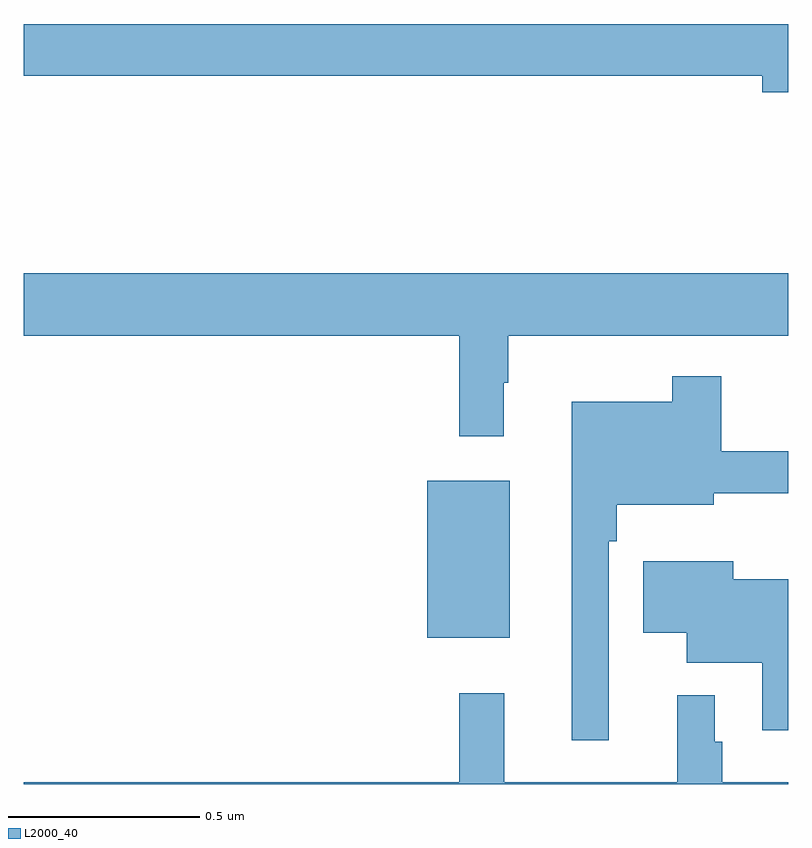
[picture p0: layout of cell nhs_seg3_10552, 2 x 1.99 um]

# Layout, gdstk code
import gdstk
lib = gdstk.Library(unit=1e-6, precision=1e-09)
def R(c, l, rs):  # rectangles x0, y0, x1, y1
    for r in rs: c.add(gdstk.rectangle(r[:2], r[2:], *l))
def P(c, l, *ps):  # polygons
    for p in ps: c.add(gdstk.Polygon(p, *l))
L2000_40 = (2000, 40)

nhs_seg3_10552 = lib.new_cell('nhs_seg3_10552')
R(nhs_seg3_10552, L2000_40, [(243.056,710.783,243.271,711.193)])
P(nhs_seg3_10552, L2000_40, [(244,712.388),(242,712.388),(242,712.252),(243.932,712.252),(243.932,712.21),(244,712.21)],
  [(243.256,711.449),(243.268,711.449),(243.268,711.572),(244,711.572),(244,711.736),(242,711.736),(242,711.572),(243.139,711.572),(243.139,711.309),(243.256,711.309)],
  [(243.531,711.035),(243.551,711.035),(243.551,711.131),(243.805,711.131),(243.805,711.16),(244,711.16),(244,711.271),(243.824,711.271),(243.824,711.466),(243.696,711.466),(243.696,711.4),(243.434,711.4),(243.434,710.514),(243.531,710.514)],
  [(244,710.935),(243.856,710.935),(243.856,710.983),(243.62,710.983),(243.62,710.795),(243.734,710.795),(243.734,710.717),(243.932,710.717),(243.932,710.541),(244,710.541)],
  [(244,710.404),(243.827,710.404),(243.827,710.511),(243.807,710.511),(243.807,710.632),(243.71,710.632),(243.71,710.404),(243.257,710.404),(243.257,710.638),(243.139,710.638),(243.139,710.404),(242,710.404),(242,710.4),(244,710.4)])

lib.write_gds('nhs_seg3_10552.gds')
